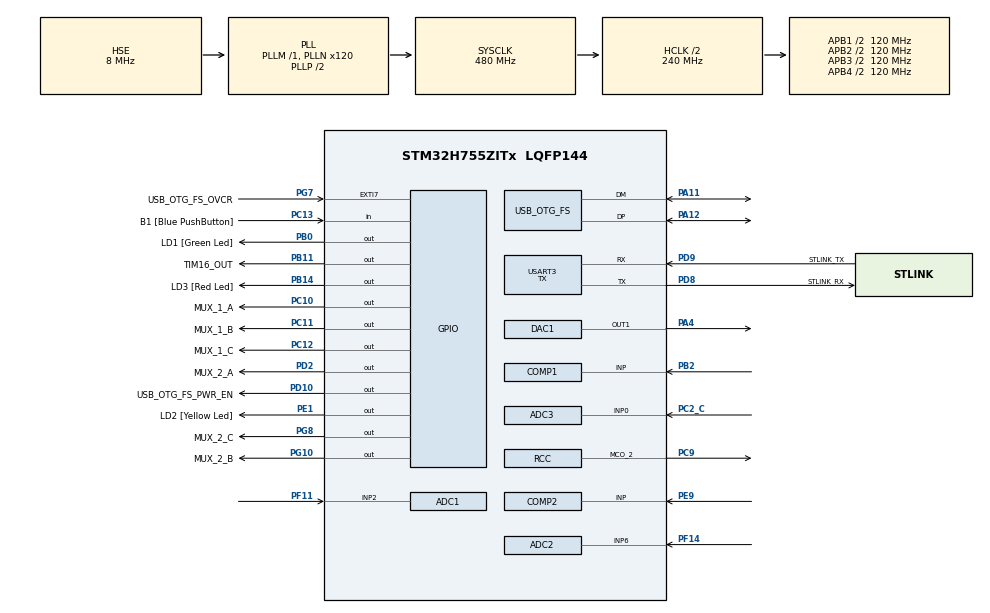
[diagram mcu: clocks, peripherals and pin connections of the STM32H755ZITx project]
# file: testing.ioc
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ADC1.Channel-0\#ChannelRegularConversion=ADC_CHANNEL_2
ADC1.ClockPrescaler=ADC_CLOCK_ASYNC_DIV1
ADC1.ClockPrescalerADC3=ADC_CLOCK_ASYNC_DIV1
ADC1.ContinuousConvMode=DISABLE
ADC1.ConversionDataManagement=ADC_CONVERSIONDATA_DMA_ONESHOT
ADC1.EnableAnalogWatchDog1=false
ADC1.EnableAnalogWatchDog2=false
ADC1.EnableAnalogWatchDog3=false
ADC1.ExternalTrigConv=ADC_EXTERNALTRIG_T1_TRGO
ADC1.NbrOfConversion=1
ADC1.NbrOfConversionFlag=1
ADC1.OffsetNumber-0\#ChannelRegularConversion=ADC_OFFSET_NONE
ADC1.OffsetSignedSaturation-0\#ChannelRegularConversion=DISABLE
ADC1.Overrun=ADC_OVR_DATA_OVERWRITTEN
ADC1.Rank-0\#ChannelRegularConversion=1
ADC1.Resolution=ADC_RESOLUTION_8B
ADC1.SamplingTime-0\#ChannelRegularConversion=ADC_SAMPLETIME_2CYCLES_5
ADC1.master=1
ADC2.Channel-2\#ChannelRegularConversion=ADC_CHANNEL_6
ADC2.ClockPrescalerADC3=ADC_CLOCK_ASYNC_DIV1
ADC2.ConversionDataManagement=ADC_CONVERSIONDATA_DMA_ONESHOT
ADC2.EnableAnalogWatchDog1=false
ADC2.ExternalTrigConv=ADC_EXTERNALTRIG_T1_TRGO
ADC2.NbrOfConversionFlag=1
ADC2.OffsetNumber-2\#ChannelRegularConversion=ADC_OFFSET_NONE
ADC2.OffsetSignedSaturation-2\#ChannelRegularConversion=DISABLE
ADC2.Overrun=ADC_OVR_DATA_OVERWRITTEN
ADC2.Rank-2\#ChannelRegularConversion=1
ADC2.Resolution=ADC_RESOLUTION_8B
ADC2.SamplingTime-2\#ChannelRegularConversion=ADC_SAMPLETIME_2CYCLES_5
ADC3.Channel-2\#ChannelRegularConversion=ADC_CHANNEL_0
ADC3.ClockPrescaler=ADC_CLOCK_ASYNC_DIV1
ADC3.ClockPrescalerADC3=ADC_CLOCK_ASYNC_DIV1
ADC3.ContinuousConvMode=DISABLE
ADC3.ConversionDataManagement=ADC_CONVERSIONDATA_DMA_ONESHOT
ADC3.EnableAnalogWatchDog1=false
ADC3.ExternalTrigConv=ADC_EXTERNALTRIG_T1_TRGO
ADC3.NbrOfConversionFlag=1
ADC3.OffsetNumber-2\#ChannelRegularConversion=ADC_OFFSET_NONE
ADC3.OffsetSignedSaturation-2\#ChannelRegularConversion=DISABLE
ADC3.Overrun=ADC_OVR_DATA_OVERWRITTEN
ADC3.Rank-2\#ChannelRegularConversion=1
ADC3.Resolution=ADC_RESOLUTION_8B
ADC3.SamplingTime-2\#ChannelRegularConversion=ADC_SAMPLETIME_2CYCLES_5
COMP1.Hysteresis=COMP_HYSTERESIS_LOW
COMP1.TriggerMode=COMP_TRIGGERMODE_IT_RISING_FALLING
COMP2.Hysteresis=COMP_HYSTERESIS_LOW
COMP2.TriggerMode=COMP_TRIGGERMODE_IT_RISING_FALLING
CortexM4.IPs=FATFS_M4\:I,FREERTOS_M4\:I,IWDG2\:I,RCC,WWDG2\:I,DMA,BDMA,MDMA,NVIC2\:I,USART3,DEBUG,USB_DEVICE_M4\:I,USB_HOST_M4\:I,PDM2PCM_M4\:I,PWR,RESMGR_UTILITY,SYS_M4\:I,CORTEX_M4\:I,OPENAMP_M4\:I,VREFBUF,GPIO
CortexM7.IPs=FATFS_M7\:I,FREERTOS_M7\:I,IWDG1\:I,RCC\:I,WWDG1\:I,DMA\:I,BDMA\:I,MDMA\:I,NVIC1\:I,USART3\:I,SYS\:I,CORTEX_M7\:I,DEBUG\:I,USB_DEVICE_M7\:I,USB_HOST_M7\:I,PDM2PCM_M7\:I,PWR\:I,RESMGR_UTILITY\:I,OPENAMP_M7\:I,VREFBUF\:I,ADC1\:I,TIM1\:I,USB_OTG_FS\:I,ADC2\:I,ADC3\:I,GPIO\:I,TIM16\:I,COMP1\:I,COMP2\:I,DAC1\:I
CortexM7.Pins=PC13,PB0,PB11,PB14,PD10,PG7,PG8,PC10,PC11,PC12,PD2,PG10,PE1
DAC1.DAC_Channel-DAC_OUT1_ExtAndInt=DAC_CHANNEL_1
DAC1.DAC_Channel-DAC_OUT2_Int=DAC_CHANNEL_2
Dma.ADC1.0.Direction=DMA_PERIPH_TO_MEMORY
Dma.ADC1.0.EventEnable=DISABLE
Dma.ADC1.0.FIFOMode=DMA_FIFOMODE_DISABLE
Dma.ADC1.0.Instance=DMA1_Stream0
Dma.ADC1.0.MemDataAlignment=DMA_MDATAALIGN_BYTE
Dma.ADC1.0.MemInc=DMA_MINC_ENABLE
Dma.ADC1.0.Mode=DMA_NORMAL
Dma.ADC1.0.PeriphDataAlignment=DMA_PDATAALIGN_BYTE
Dma.ADC1.0.PeriphInc=DMA_PINC_DISABLE
Dma.ADC1.0.Polarity=HAL_DMAMUX_REQ_GEN_RISING
Dma.ADC1.0.Priority=DMA_PRIORITY_HIGH
Dma.ADC1.0.RequestNumber=1
Dma.ADC1.0.SignalID=NONE
Dma.ADC1.0.SyncEnable=DISABLE
Dma.ADC1.0.SyncPolarity=HAL_DMAMUX_SYNC_NO_EVENT
Dma.ADC1.0.SyncRequestNumber=1
Dma.ADC1.0.SyncSignalID=NONE
Dma.ADC2.1.Direction=DMA_PERIPH_TO_MEMORY
Dma.ADC2.1.EventEnable=DISABLE
Dma.ADC2.1.FIFOMode=DMA_FIFOMODE_DISABLE
Dma.ADC2.1.Instance=DMA1_Stream1
Dma.ADC2.1.MemDataAlignment=DMA_MDATAALIGN_BYTE
Dma.ADC2.1.MemInc=DMA_MINC_ENABLE
Dma.ADC2.1.Mode=DMA_NORMAL
Dma.ADC2.1.PeriphDataAlignment=DMA_PDATAALIGN_BYTE
Dma.ADC2.1.PeriphInc=DMA_PINC_DISABLE
Dma.ADC2.1.Polarity=HAL_DMAMUX_REQ_GEN_RISING
Dma.ADC2.1.Priority=DMA_PRIORITY_HIGH
Dma.ADC2.1.RequestNumber=1
Dma.ADC2.1.SignalID=NONE
Dma.ADC2.1.SyncEnable=DISABLE
Dma.ADC2.1.SyncPolarity=HAL_DMAMUX_SYNC_NO_EVENT
Dma.ADC2.1.SyncRequestNumber=1
Dma.ADC2.1.SyncSignalID=NONE
Dma.ADC3.2.Direction=DMA_PERIPH_TO_MEMORY
Dma.ADC3.2.EventEnable=DISABLE
Dma.ADC3.2.FIFOMode=DMA_FIFOMODE_DISABLE
Dma.ADC3.2.Instance=DMA1_Stream2
Dma.ADC3.2.MemDataAlignment=DMA_MDATAALIGN_BYTE
Dma.ADC3.2.MemInc=DMA_MINC_ENABLE
Dma.ADC3.2.Mode=DMA_NORMAL
Dma.ADC3.2.PeriphDataAlignment=DMA_PDATAALIGN_BYTE
Dma.ADC3.2.PeriphInc=DMA_PINC_DISABLE
Dma.ADC3.2.Polarity=HAL_DMAMUX_REQ_GEN_RISING
Dma.ADC3.2.Priority=DMA_PRIORITY_HIGH
Dma.ADC3.2.RequestNumber=1
Dma.ADC3.2.SignalID=NONE
Dma.ADC3.2.SyncEnable=DISABLE
Dma.ADC3.2.SyncPolarity=HAL_DMAMUX_SYNC_NO_EVENT
Dma.ADC3.2.SyncRequestNumber=1
Dma.ADC3.2.SyncSignalID=NONE
Dma.MEMTOMEM.3.Direction=DMA_MEMORY_TO_MEMORY
Dma.MEMTOMEM.3.EventEnable=DISABLE
Dma.MEMTOMEM.3.FIFOMode=DMA_FIFOMODE_ENABLE
Dma.MEMTOMEM.3.FIFOThreshold=DMA_FIFO_THRESHOLD_FULL
Dma.MEMTOMEM.3.Instance=DMA2_Stream0
Dma.MEMTOMEM.3.MemBurst=DMA_MBURST_SINGLE
Dma.MEMTOMEM.3.MemDataAlignment=DMA_MDATAALIGN_BYTE
Dma.MEMTOMEM.3.MemInc=DMA_MINC_ENABLE
Dma.MEMTOMEM.3.Mode=DMA_NORMAL
Dma.MEMTOMEM.3.PeriphBurst=DMA_PBURST_SINGLE
Dma.MEMTOMEM.3.PeriphDataAlignment=DMA_PDATAALIGN_BYTE
Dma.MEMTOMEM.3.PeriphInc=DMA_PINC_ENABLE
Dma.MEMTOMEM.3.Polarity=HAL_DMAMUX_REQ_GEN_RISING
Dma.MEMTOMEM.3.Priority=DMA_PRIORITY_LOW
Dma.MEMTOMEM.3.RequestNumber=1
Dma.MEMTOMEM.3.SignalID=NONE
Dma.MEMTOMEM.3.SyncEnable=DISABLE
Dma.MEMTOMEM.3.SyncPolarity=HAL_DMAMUX_SYNC_NO_EVENT
Dma.MEMTOMEM.3.SyncRequestNumber=1
Dma.MEMTOMEM.3.SyncSignalID=NONE
Dma.Request0=ADC1
Dma.Request1=ADC2
Dma.Request2=ADC3
Dma.Request3=MEMTOMEM
Mcu.Family=STM32H7
Mcu.Name=STM32H755ZITx
Mcu.Package=LQFP144
NVIC1.ADC3_IRQn=true\:0\:0\:false\:false\:true\:true\:true\:true
NVIC1.ADC_IRQn=true\:0\:0\:false\:false\:true\:true\:true\:true
NVIC1.COMP_IRQn=true\:0\:0\:false\:false\:true\:false\:true\:true
NVIC1.DMA1_Stream0_IRQn=true\:0\:0\:false\:false\:true\:false\:true\:true
NVIC1.DMA1_Stream1_IRQn=true\:0\:0\:false\:false\:true\:false\:true\:true
NVIC1.DMA1_Stream2_IRQn=true\:0\:0\:false\:false\:true\:false\:true\:true
NVIC1.OTG_FS_EP1_IN_IRQn=true\:0\:0\:false\:false\:true\:true\:true\:true
NVIC1.OTG_FS_EP1_OUT_IRQn=true\:0\:0\:false\:false\:true\:true\:true\:true
NVIC1.OTG_FS_IRQn=true\:0\:0\:false\:false\:true\:false\:true\:true
NVIC1.PriorityGroup=NVIC_PRIORITYGROUP_4
NVIC1.TIM16_IRQn=true\:0\:0\:false\:false\:true\:true\:true\:true
NVIC2.PriorityGroup=NVIC_PRIORITYGROUP_4
PA11.Mode=Device_Only
PA11.PinAttribute=CortexM7
PA11.Signal=USB_OTG_FS_DM
PA12.Mode=Device_Only
PA12.PinAttribute=CortexM7
PA12.Signal=USB_OTG_FS_DP
PA4.PinAttribute=CortexM7
PA4.Signal=COMP_DAC11_group
PB0.GPIO_Label=LD1 [Green Led]
PB0.PinAttribute=CortexM7
PB0.Signal=GPIO_Output
PB11.GPIO_Label=TIM16_OUT
PB11.PinAttribute=CortexM7
PB11.Signal=GPIO_Output
PB14.GPIO_Label=LD3 [Red Led]
PB14.PinAttribute=CortexM7
PB14.Signal=GPIO_Output
PB2.Mode=INP
PB2.PinAttribute=CortexM7
PB2.Signal=COMP1_INP
PC10.GPIO_Label=MUX_1_A
PC10.PinAttribute=CortexM7
PC10.Signal=GPIO_Output
PC11.GPIO_Label=MUX_1_B
PC11.PinAttribute=CortexM7
PC11.Signal=GPIO_Output
PC12.GPIO_Label=MUX_1_C
PC12.PinAttribute=CortexM7
PC12.Signal=GPIO_Output
PC13.GPIO_Label=B1 [Blue PushButton]
PC13.PinAttribute=CortexM7
PC13.Signal=GPIO_Input
PC14-OSC32_IN\ (OSC32_IN).Mode=LSE-External-Oscillator
PC14-OSC32_IN\ (OSC32_IN).PinAttribute=CortexM7
PC14-OSC32_IN\ (OSC32_IN).Signal=RCC_OSC32_IN
PC15-OSC32_OUT\ (OSC32_OUT).Mode=LSE-External-Oscillator
PC15-OSC32_OUT\ (OSC32_OUT).PinAttribute=CortexM7
PC15-OSC32_OUT\ (OSC32_OUT).Signal=RCC_OSC32_OUT
PC2_C.Mode=IN0-Single-Ended
PC2_C.PinAttribute=CortexM7
PC2_C.Signal=ADC3_INP0
PC9.Mode=Clock-out-2
PC9.PinAttribute=CortexM7
PC9.Signal=RCC_MCO_2
PD10.GPIO_Label=USB_OTG_FS_PWR_EN
PD10.PinAttribute=CortexM7
PD10.Signal=GPIO_Output
PD2.GPIO_Label=MUX_2_A
PD2.PinAttribute=CortexM7
PD2.Signal=GPIO_Output
PD8.GPIO_Label=STLINK_RX
PD8.Mode=Asynchronous
PD8.PinAttribute=CortexM7
PD8.Signal=USART3_TX
PD9.GPIO_Label=STLINK_TX
PD9.Mode=Asynchronous
PD9.PinAttribute=CortexM7
PD9.Signal=USART3_RX
PE1.GPIO_Label=LD2 [Yellow Led]
PE1.PinAttribute=CortexM7
PE1.Signal=GPIO_Output
PE9.Mode=INP
PE9.PinAttribute=CortexM7
PE9.Signal=COMP2_INP
PF11.Mode=IN2-Single-Ended
PF11.PinAttribute=CortexM7
PF11.Signal=ADC1_INP2
PF14.Mode=IN6-Single-Ended
PF14.PinAttribute=CortexM7
PF14.Signal=ADC2_INP6
PG10.GPIO_Label=MUX_2_B
PG10.PinAttribute=CortexM7
PG10.Signal=GPIO_Output
PG7.GPIO_Label=USB_OTG_FS_OVCR
PG7.PinAttribute=CortexM7
PG7.Signal=GPXTI7
PG8.GPIO_Label=MUX_2_C
PG8.PinAttribute=CortexM7
PG8.Signal=GPIO_Output
PH0-OSC_IN\ (PH0).Mode=HSE-External-Clock-Source
PH0-OSC_IN\ (PH0).PinAttribute=CortexM7
PH0-OSC_IN\ (PH0).Signal=RCC_OSC_IN
ProjectManager.HeapSize=M4-0x200,M7-0x200
ProjectManager.StackSize=M4-0x400,M7-0x400
ProjectManager.TargetToolchain=STM32CubeIDE
RCC.ADCFreq_Value=50000000
RCC.APB1Freq_Value=120000000
RCC.APB2Freq_Value=120000000
RCC.APB3Freq_Value=120000000
RCC.APB4Freq_Value=120000000
RCC.CortexFreq_Value=480000000
RCC.D1PPRE=RCC_APB3_DIV2
RCC.D2PPRE1=RCC_APB1_DIV2
RCC.D2PPRE2=RCC_APB2_DIV2
RCC.D3PPRE=RCC_APB4_DIV2
RCC.DIVM1=1
RCC.DIVM2=1
RCC.DIVM3=1
RCC.DIVN1=120
RCC.DIVN2=50
RCC.DIVN3=60
RCC.DIVP2=8
RCC.DIVQ1=4
RCC.DIVQ2=1
RCC.DIVQ3=10
RCC.HCLKFreq_Value=240000000
RCC.HPRE=RCC_HCLK_DIV2
RCC.HSE_VALUE=8000000
RCC.PLL2FRACN=0
RCC.PLL3FRACN=0
RCC.PLLFRACN=0
RCC.PLLSourceVirtual=RCC_PLLSOURCE_HSE
RCC.SYSCLKFreq_VALUE=480000000
RCC.SYSCLKSource=RCC_SYSCLKSOURCE_PLLCLK
RCC.SupplySource=PWR_DIRECT_SMPS_SUPPLY
RCC.USART234578CLockSelection=RCC_USART234578CLKSOURCE_HSI
RCC.USBCLockSelection=RCC_USBCLKSOURCE_PLL3
RCC.USBFreq_Value=48000000
SH.COMP_DAC11_group.0=DAC1_OUT1,DAC_OUT1_ExtAndInt
TIM1.AutoReloadPreload=TIM_AUTORELOAD_PRELOAD_DISABLE
TIM1.Channel-PWM\ Generation1\ No\ Output=TIM_CHANNEL_1
TIM1.ClockDivision=TIM_CLOCKDIVISION_DIV1
TIM1.Period=48 - 1
TIM1.Prescaler=0
TIM1.TIM_MasterOutputTrigger=TIM_TRGO_UPDATE
TIM1.TIM_MasterOutputTrigger2=TIM_TRGO2_RESET
TIM16.Period=12000 - 1
TIM16.Prescaler=2000 - 1
USART3.Mode=MODE_TX
USART3.VirtualMode-Asynchronous=VM_ASYNC
USB_DEVICE_M7.APP_RX_DATA_SIZE-CDC_FS=9
USB_DEVICE_M7.CLASS_NAME_FS=CDC
USB_DEVICE_M7.USBD_DEBUG_LEVEL-CDC_FS=0
USB_DEVICE_M7.USBD_MAX_STR_DESC_SIZ-CDC_FS=64
USB_DEVICE_M7.VirtualMode-CDC_FS=Cdc
USB_DEVICE_M7.VirtualModeFS=Cdc_FS
USB_OTG_FS.Sof_enable=DISABLE
USB_OTG_FS.VirtualMode=Device_Only
USB_OTG_FS.dma_enable=DISABLE
USB_OTG_FS.use_dedicated_ep1=DISABLE
VP_COMP1_VS_DACOUT1.Mode=INM_DACOUT1
VP_COMP2_VS_DACOUT2.Mode=INM_DACOUT2
VP_DAC1_VS_DACI2.Mode=DAC_OUT2_Int
VP_SYS_M4_VS_Systick.Mode=SysTick
VP_TIM16_VS_ClockSourceINT.Mode=Enable_Timer
VP_TIM1_VS_no_output1.Mode=PWM Generation1 No Output
VP_USB_DEVICE_M7_VS_USB_DEVICE_CDC_FS.Mode=CDC_FS
VP_VREFBUF_V_VREFBUF.Mode=ExternalMode
board=NUCLEO-H755ZI-Q

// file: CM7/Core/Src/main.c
/* USER CODE BEGIN Header */
/**
 ******************************************************************************
 * @file           : main.c
 * @brief          : Main program body
 ******************************************************************************
 * @attention
 *
 * Copyright (c) 2022 STMicroelectronics.
 * All rights reserved.
 *
 * This software is licensed under terms that can be found in the LICENSE file
 * in the root directory of this software component.
 * If no LICENSE file comes with this software, it is provided AS-IS.
 *
 ******************************************************************************
 */
/* USER CODE END Header */
#include "main.h"
#include "usb_device.h"

/* USER CODE BEGIN Includes */
#include "usbd_cdc_if.h"
/* USER CODE END Includes */

/* USER CODE BEGIN PTD */
typedef struct
{
	uint8_t channelA;
	uint8_t channelB;
	uint8_t channelC;
	uint8_t trigger_option;
	uint16_t trigger_value;
	uint8_t trigger_channel;
	uint8_t time_scale;
	uint8_t changed;
} options_t;
/* USER CODE END PTD */

/* USER CODE BEGIN PD */

#ifndef HSEM_ID_0
#define HSEM_ID_0 (0U) /* HW semaphore 0*/
#endif

#define ADC_HALF_BUF_LEN 10000u
#define DATA_TO_SEND_LEN 500u
#define HALF_DATA_TO_SEND_LEN 250u

/* USER CODE END PD */

ADC_HandleTypeDef hadc1;
ADC_HandleTypeDef hadc2;
ADC_HandleTypeDef hadc3;
DMA_HandleTypeDef hdma_adc1;
DMA_HandleTypeDef hdma_adc2;
DMA_HandleTypeDef hdma_adc3;

COMP_HandleTypeDef hcomp1;
COMP_HandleTypeDef hcomp2;

DAC_HandleTypeDef hdac1;

TIM_HandleTypeDef htim1;
TIM_HandleTypeDef htim16;

UART_HandleTypeDef huart3;

DMA_HandleTypeDef hdma_memtomem_dma2_stream0;
/* USER CODE BEGIN PV */
uint8_t ADC_Buf_A_1[ADC_HALF_BUF_LEN * 2];
uint8_t ADC_Buf_B_1[ADC_HALF_BUF_LEN * 2];
uint8_t ADC_Buf_C_1[ADC_HALF_BUF_LEN * 2];

uint8_t ADC_Buf_A_2[ADC_HALF_BUF_LEN * 2];
uint8_t ADC_Buf_B_2[ADC_HALF_BUF_LEN * 2];
uint8_t ADC_Buf_C_2[ADC_HALF_BUF_LEN * 2];

uint8_t ADC_Buf_A_1_[ADC_HALF_BUF_LEN * 2];
uint8_t ADC_Buf_B_1_[ADC_HALF_BUF_LEN * 2];
uint8_t ADC_Buf_C_1_[ADC_HALF_BUF_LEN * 2];

uint8_t ADC_Buf_A_2_[ADC_HALF_BUF_LEN * 2];
uint8_t ADC_Buf_B_2_[ADC_HALF_BUF_LEN * 2];
uint8_t ADC_Buf_C_2_[ADC_HALF_BUF_LEN * 2];

uint8_t ADC_Tmp_Buf_A[ADC_HALF_BUF_LEN * 3];
uint8_t ADC_Tmp_Buf_B[ADC_HALF_BUF_LEN * 3];
uint8_t ADC_Tmp_Buf_C[ADC_HALF_BUF_LEN * 3];

volatile uint8_t trigger_flag = 0;

volatile uint16_t trigger_A_pos = 0;
volatile uint16_t trigger_B_pos = 0;
volatile uint16_t trigger_C_pos = 0;

volatile uint8_t trigger_quadrant = 0;

volatile uint8_t start_flag = RESET;
volatile uint8_t ready_to_send_flag = 0;

volatile uint16_t buf_A_pos = 0;
volatile uint16_t buf_B_pos = 0;
volatile uint16_t buf_C_pos = 0;

volatile uint8_t buf_A_quadrant = 0;
volatile uint8_t buf_B_quadrant = 0;
volatile uint8_t buf_C_quadrant = 0;
volatile uint8_t first_triggering = 0;

uint8_t expected_comp_output = 0;

uint8_t data_to_send[DATA_TO_SEND_LEN * 3];

uint8_t dummy_data_to_send[DATA_TO_SEND_LEN * 3];

options_t *options;
/* USER CODE END PV */

void SystemClock_Config(void);
void PeriphCommonClock_Config(void);
static void MX_GPIO_Init(void);
static void MX_USART3_UART_Init(void);
static void MX_DMA_Init(void);
static void MX_ADC1_Init(void);
static void MX_TIM1_Init(void);
static void MX_ADC3_Init(void);
static void MX_ADC2_Init(void);
static void MX_TIM16_Init(void);
static void MX_COMP1_Init(void);
static void MX_COMP2_Init(void);
static void MX_DAC1_Init(void);
/* USER CODE BEGIN PFP */
void copy_to_tmp_array(void);
void prepare_data_to_send(uint16_t trigger_pos);
/* USER CODE END PFP */

int main(void)
{
/* USER CODE BEGIN Boot_Mode_Sequence_0 */
	int32_t timeout;
/* USER CODE END Boot_Mode_Sequence_0 */

/* USER CODE BEGIN Boot_Mode_Sequence_1 */
	/* Wait until CPU2 boots and enters in stop mode or timeout*/
	timeout = 0xFFFF;
	while ((__HAL_RCC_GET_FLAG(RCC_FLAG_D2CKRDY) != RESET) && (timeout-- > 0));
	if (timeout < 0)
	{
		Error_Handler();
	}
/* USER CODE END Boot_Mode_Sequence_1 */
  /* MCU Configuration--------------------------------------------------------*/

  /* Reset of all peripherals, Initializes the Flash interface and the Systick. */
  HAL_Init();

  /* Configure the system clock */
  SystemClock_Config();

/* Configure the peripherals common clocks */
  PeriphCommonClock_Config();
/* USER CODE BEGIN Boot_Mode_Sequence_2 */
	/* When system initialization is finished, Cortex-M7 will release Cortex-M4 by means of
	 HSEM notification */
	/*HW semaphore Clock enable*/
	__HAL_RCC_HSEM_CLK_ENABLE();
	/*Take HSEM */
	HAL_HSEM_FastTake(HSEM_ID_0);
	/*Release HSEM in order to notify the CPU2(CM4)*/
	HAL_HSEM_Release(HSEM_ID_0, 0);
	/* wait until CPU2 wakes up from stop mode */
	timeout = 0xFFFF;
	while ((__HAL_RCC_GET_FLAG(RCC_FLAG_D2CKRDY) == RESET) && (timeout-- > 0));
	if (timeout < 0)
	{
		Error_Handler();
	}
/* USER CODE END Boot_Mode_Sequence_2 */

  /* Initialize all configured peripherals */
  MX_GPIO_Init();
  MX_USART3_UART_Init();
  MX_DMA_Init();
  MX_ADC1_Init();
  MX_TIM1_Init();
  MX_USB_DEVICE_Init();
  MX_ADC3_Init();
  MX_ADC2_Init();
  MX_TIM16_Init();
  MX_COMP1_Init();
  MX_COMP2_Init();
  MX_DAC1_Init();
  /* USER CODE BEGIN 2 */
	HAL_GPIO_TogglePin(LD2_GPIO_Port, LD2_Pin);
	HAL_ADCEx_Calibration_Start(&hadc1, ADC_CALIB_OFFSET_LINEARITY, ADC_SINGLE_ENDED);
	HAL_ADCEx_Calibration_Start(&hadc2, ADC_CALIB_OFFSET_LINEARITY, ADC_SINGLE_ENDED);
	HAL_ADCEx_Calibration_Start(&hadc3, ADC_CALIB_OFFSET_LINEARITY, ADC_SINGLE_ENDED);
	HAL_GPIO_TogglePin(LD2_GPIO_Port, LD2_Pin);

	HAL_TIM_Base_Start_IT(&htim16);

	uint16_t i = 0;
	for (i = 0; i < DATA_TO_SEND_LEN * 3; i++)
	{
		dummy_data_to_send[i] = i & 0xFF;
	}
	options->changed = 0;

	while (!start_flag)
	{
		//waiting for usb connection
	}

	HAL_ADC_Stop_DMA(&hadc1);
	HAL_ADC_Stop_DMA(&hadc2);
	HAL_ADC_Stop_DMA(&hadc3);

	HAL_COMP_Stop(&hcomp1);
	HAL_COMP_Stop(&hcomp2);

	HAL_DAC_Start(&hdac1, DAC_CHANNEL_1);

	HAL_TIM_PWM_Stop(&htim1, TIM_CHANNEL_1);

	HAL_Delay(500);

	HAL_ADC_Start_DMA(&hadc1, (uint32_t*) ADC_Buf_A_1, ADC_HALF_BUF_LEN * 2);
	HAL_ADC_Start_DMA(&hadc2, (uint32_t*) ADC_Buf_B_1, ADC_HALF_BUF_LEN * 2);
	HAL_ADC_Start_DMA(&hadc3, (uint32_t*) ADC_Buf_C_1, ADC_HALF_BUF_LEN * 2);

//			HAL_COMP_Start_IT(&hcomp1);
//			HAL_COMP_Start_IT(&hcomp2);

	HAL_TIM_PWM_Start(&htim1, TIM_CHANNEL_1);

	trigger_A_pos = 0;
	trigger_B_pos = 0;

	buf_A_pos = 0;
	buf_B_pos = 0;
	buf_C_pos = 0;

	start_flag = RESET;
	HAL_GPIO_TogglePin(LD1_GPIO_Port, LD1_Pin);

  /* USER CODE END 2 */

  /* Infinite loop */
  /* USER CODE BEGIN WHILE */
	while (1)
	{

		if (trigger_flag)
		{
			if (options->trigger_channel == 1)
			{
				if (buf_A_quadrant == ((trigger_quadrant + 1) & 3))
				{
					copy_to_tmp_array();
					prepare_data_to_send(trigger_A_pos);
					ready_to_send_flag = 1;
					trigger_flag = 0;
				}
			}
			if (options->trigger_channel == 2)
			{
				if (buf_B_quadrant == ((trigger_quadrant + 1) & 3))
				{
					copy_to_tmp_array();
					prepare_data_to_send(trigger_B_pos);
					ready_to_send_flag = 1;
					trigger_flag = 0;
				}
			}
		}

		if (options->changed)
		{
			first_triggering = 0;
			//TODO(Attila): Set everything

			//MUX 1
			HAL_GPIO_WritePin(MUX_1_A_GPIO_Port, MUX_1_A_Pin, !(options->channelA & 1));
			HAL_GPIO_WritePin(MUX_1_B_GPIO_Port, MUX_1_B_Pin, !(options->channelA & 2));
			HAL_GPIO_WritePin(MUX_1_C_GPIO_Port, MUX_1_C_Pin, !(options->channelA & 4));

			//MUX 2
			HAL_GPIO_WritePin(MUX_2_A_GPIO_Port, MUX_2_A_Pin, !(options->channelB & 1));
			HAL_GPIO_WritePin(MUX_2_B_GPIO_Port, MUX_2_B_Pin, !(options->channelB & 2));
			HAL_GPIO_WritePin(MUX_2_C_GPIO_Port, MUX_2_C_Pin, !(options->channelB & 4));

			//DAC setting
			HAL_DAC_SetValue(&hdac1, DAC_CHANNEL_1, DAC_ALIGN_12B_R, options->trigger_value);
			HAL_DAC_SetValue(&hdac1, DAC_CHANNEL_2, DAC_ALIGN_12B_R, options->trigger_value);

			//Trigger Mode
			switch (options->trigger_option)
			{
			case 0:
//				hcomp1.Init.TriggerMode = COMP_TRIGGERMODE_IT_RISING;
//				hcomp2.Init.TriggerMode = COMP_TRIGGERMODE_IT_RISING;
				expected_comp_output = COMP_OUTPUT_LEVEL_HIGH;

				HAL_COMP_Stop(&hcomp1);
				HAL_COMP_Stop(&hcomp2);

//				HAL_COMP_Init(&hcomp1);
//				HAL_COMP_Init(&hcomp2);

				trigger_flag = 0;
				HAL_COMP_Start(&hcomp1);
				HAL_COMP_Start(&hcomp2);
				break;

			case 1:
//				hcomp1.Init.TriggerMode = COMP_TRIGGERMODE_IT_FALLING;
//				hcomp2.Init.TriggerMode = COMP_TRIGGERMODE_IT_FALLING;
				expected_comp_output = COMP_OUTPUT_LEVEL_LOW;

//				HAL_COMP_Init(&hcomp1);
//				HAL_COMP_Init(&hcomp2);

				trigger_flag = 0;
				HAL_COMP_Start(&hcomp1);
				HAL_COMP_Start(&hcomp2);
				break;

			default:
				HAL_COMP_Stop(&hcomp1);
				HAL_COMP_Stop(&hcomp2);

				break;
			}

			options->changed = 0;
		}
    /* USER CODE END WHILE */

	}
}

void SystemClock_Config(void)
{
  RCC_OscInitTypeDef RCC_OscInitStruct = {0};
  RCC_ClkInitTypeDef RCC_ClkInitStruct = {0};

  /** Supply configuration update enable
  */
  HAL_PWREx_ConfigSupply(PWR_DIRECT_SMPS_SUPPLY);

  /** Configure the main internal regulator output voltage
  */
  __HAL_PWR_VOLTAGESCALING_CONFIG(PWR_REGULATOR_VOLTAGE_SCALE0);

  while(!__HAL_PWR_GET_FLAG(PWR_FLAG_VOSRDY)) {}

  /** Macro to configure the PLL clock source
  */
  __HAL_RCC_PLL_PLLSOURCE_CONFIG(RCC_PLLSOURCE_HSE);

  /** Initializes the RCC Oscillators according to the specified parameters
  * in the RCC_OscInitTypeDef structure.
  */
  RCC_OscInitStruct.OscillatorType = RCC_OSCILLATORTYPE_HSI|RCC_OSCILLATORTYPE_HSE;
  RCC_OscInitStruct.HSEState = RCC_HSE_BYPASS;
  RCC_OscInitStruct.HSIState = RCC_HSI_DIV1;
  RCC_OscInitStruct.HSICalibrationValue = RCC_HSICALIBRATION_DEFAULT;
  RCC_OscInitStruct.PLL.PLLState = RCC_PLL_ON;
  RCC_OscInitStruct.PLL.PLLSource = RCC_PLLSOURCE_HSE;
  RCC_OscInitStruct.PLL.PLLM = 1;
  RCC_OscInitStruct.PLL.PLLN = 120;
  RCC_OscInitStruct.PLL.PLLP = 2;
  RCC_OscInitStruct.PLL.PLLQ = 4;
  RCC_OscInitStruct.PLL.PLLR = 2;
  RCC_OscInitStruct.PLL.PLLRGE = RCC_PLL1VCIRANGE_3;
  RCC_OscInitStruct.PLL.PLLVCOSEL = RCC_PLL1VCOWIDE;
  RCC_OscInitStruct.PLL.PLLFRACN = 0;
  if (HAL_RCC_OscConfig(&RCC_OscInitStruct) != HAL_OK)
  {
    Error_Handler();
  }

  /** Initializes the CPU, AHB and APB buses clocks
  */
  RCC_ClkInitStruct.ClockType = RCC_CLOCKTYPE_HCLK|RCC_CLOCKTYPE_SYSCLK
                              |RCC_CLOCKTYPE_PCLK1|RCC_CLOCKTYPE_PCLK2
                              |RCC_CLOCKTYPE_D3PCLK1|RCC_CLOCKTYPE_D1PCLK1;
  RCC_ClkInitStruct.SYSCLKSource = RCC_SYSCLKSOURCE_PLLCLK;
  RCC_ClkInitStruct.SYSCLKDivider = RCC_SYSCLK_DIV1;
  RCC_ClkInitStruct.AHBCLKDivider = RCC_HCLK_DIV2;
  RCC_ClkInitStruct.APB3CLKDivider = RCC_APB3_DIV2;
  RCC_ClkInitStruct.APB1CLKDivider = RCC_APB1_DIV2;
  RCC_ClkInitStruct.APB2CLKDivider = RCC_APB2_DIV2;
  RCC_ClkInitStruct.APB4CLKDivider = RCC_APB4_DIV2;

  if (HAL_RCC_ClockConfig(&RCC_ClkInitStruct, FLASH_LATENCY_4) != HAL_OK)
  {
    Error_Handler();
  }
  HAL_RCC_MCOConfig(RCC_MCO2, RCC_MCO2SOURCE_SYSCLK, RCC_MCODIV_1);
}

void PeriphCommonClock_Config(void)
{
  RCC_PeriphCLKInitTypeDef PeriphClkInitStruct = {0};

  /** Initializes the peripherals clock
  */
  PeriphClkInitStruct.PeriphClockSelection = RCC_PERIPHCLK_ADC;
  PeriphClkInitStruct.PLL2.PLL2M = 1;
  PeriphClkInitStruct.PLL2.PLL2N = 50;
  PeriphClkInitStruct.PLL2.PLL2P = 8;
  PeriphClkInitStruct.PLL2.PLL2Q = 1;
  PeriphClkInitStruct.PLL2.PLL2R = 2;
  PeriphClkInitStruct.PLL2.PLL2RGE = RCC_PLL2VCIRANGE_3;
  PeriphClkInitStruct.PLL2.PLL2VCOSEL = RCC_PLL2VCOWIDE;
  PeriphClkInitStruct.PLL2.PLL2FRACN = 0;
  PeriphClkInitStruct.AdcClockSelection = RCC_ADCCLKSOURCE_PLL2;
  if (HAL_RCCEx_PeriphCLKConfig(&PeriphClkInitStruct) != HAL_OK)
  {
    Error_Handler();
  }
}

static void MX_ADC1_Init(void)
{

  ADC_MultiModeTypeDef multimode = {0};
  ADC_ChannelConfTypeDef sConfig = {0};

  /** Common config
  */
  hadc1.Instance = ADC1;
  hadc1.Init.ClockPrescaler = ADC_CLOCK_ASYNC_DIV1;
  hadc1.Init.Resolution = ADC_RESOLUTION_8B;
  hadc1.Init.ScanConvMode = ADC_SCAN_DISABLE;
  hadc1.Init.EOCSelection = ADC_EOC_SINGLE_CONV;
  hadc1.Init.LowPowerAutoWait = DISABLE;
  hadc1.Init.ContinuousConvMode = DISABLE;
  hadc1.Init.NbrOfConversion = 1;
  hadc1.Init.DiscontinuousConvMode = DISABLE;
  hadc1.Init.ExternalTrigConv = ADC_EXTERNALTRIG_T1_TRGO;
  hadc1.Init.ExternalTrigConvEdge = ADC_EXTERNALTRIGCONVEDGE_RISING;
  hadc1.Init.ConversionDataManagement = ADC_CONVERSIONDATA_DMA_ONESHOT;
  hadc1.Init.Overrun = ADC_OVR_DATA_OVERWRITTEN;
  hadc1.Init.LeftBitShift = ADC_LEFTBITSHIFT_NONE;
  hadc1.Init.OversamplingMode = DISABLE;
  if (HAL_ADC_Init(&hadc1) != HAL_OK)
  {
    Error_Handler();
  }

  /** Configure the ADC multi-mode
  */
  multimode.Mode = ADC_MODE_INDEPENDENT;
  if (HAL_ADCEx_MultiModeConfigChannel(&hadc1, &multimode) != HAL_OK)
  {
    Error_Handler();
  }

  /** Configure Regular Channel
  */
  sConfig.Channel = ADC_CHANNEL_2;
  sConfig.Rank = ADC_REGULAR_RANK_1;
  sConfig.SamplingTime = ADC_SAMPLETIME_2CYCLES_5;
  sConfig.SingleDiff = ADC_SINGLE_ENDED;
  sConfig.OffsetNumber = ADC_OFFSET_NONE;
  sConfig.Offset = 0;
  sConfig.OffsetSignedSaturation = DISABLE;
  if (HAL_ADC_ConfigChannel(&hadc1, &sConfig) != HAL_OK)
  {
    Error_Handler();
  }

}

static void MX_ADC2_Init(void)
{

  ADC_ChannelConfTypeDef sConfig = {0};

  /** Common config
  */
  hadc2.Instance = ADC2;
  hadc2.Init.ClockPrescaler = ADC_CLOCK_ASYNC_DIV1;
  hadc2.Init.Resolution = ADC_RESOLUTION_8B;
  hadc2.Init.ScanConvMode = ADC_SCAN_DISABLE;
  hadc2.Init.EOCSelection = ADC_EOC_SINGLE_CONV;
  hadc2.Init.LowPowerAutoWait = DISABLE;
  hadc2.Init.ContinuousConvMode = DISABLE;
  hadc2.Init.NbrOfConversion = 1;
  hadc2.Init.DiscontinuousConvMode = DISABLE;
  hadc2.Init.ExternalTrigConv = ADC_EXTERNALTRIG_T1_TRGO;
  hadc2.Init.ExternalTrigConvEdge = ADC_EXTERNALTRIGCONVEDGE_RISING;
  hadc2.Init.ConversionDataManagement = ADC_CONVERSIONDATA_DMA_ONESHOT;
  hadc2.Init.Overrun = ADC_OVR_DATA_OVERWRITTEN;
  hadc2.Init.LeftBitShift = ADC_LEFTBITSHIFT_NONE;
  hadc2.Init.OversamplingMode = DISABLE;
  if (HAL_ADC_Init(&hadc2) != HAL_OK)
  {
    Error_Handler();
  }

  /** Configure Regular Channel
  */
  sConfig.Channel = ADC_CHANNEL_6;
  sConfig.Rank = ADC_REGULAR_RANK_1;
  sConfig.SamplingTime = ADC_SAMPLETIME_2CYCLES_5;
  sConfig.SingleDiff = ADC_SINGLE_ENDED;
  sConfig.OffsetNumber = ADC_OFFSET_NONE;
  sConfig.Offset = 0;
  sConfig.OffsetSignedSaturation = DISABLE;
  if (HAL_ADC_ConfigChannel(&hadc2, &sConfig) != HAL_OK)
  {
    Error_Handler();
  }

}

static void MX_ADC3_Init(void)
{

  ADC_ChannelConfTypeDef sConfig = {0};

  /** Common config
  */
  hadc3.Instance = ADC3;
  hadc3.Init.ClockPrescaler = ADC_CLOCK_ASYNC_DIV1;
  hadc3.Init.Resolution = ADC_RESOLUTION_8B;
  hadc3.Init.ScanConvMode = ADC_SCAN_DISABLE;
  hadc3.Init.EOCSelection = ADC_EOC_SINGLE_CONV;
  hadc3.Init.LowPowerAutoWait = DISABLE;
  hadc3.Init.ContinuousConvMode = DISABLE;
  hadc3.Init.NbrOfConversion = 1;
  hadc3.Init.DiscontinuousConvMode = DISABLE;
  hadc3.Init.ExternalTrigConv = ADC_EXTERNALTRIG_T1_TRGO;
  hadc3.Init.ExternalTrigConvEdge = ADC_EXTERNALTRIGCONVEDGE_RISING;
  hadc3.Init.ConversionDataManagement = ADC_CONVERSIONDATA_DMA_ONESHOT;
  hadc3.Init.Overrun = ADC_OVR_DATA_OVERWRITTEN;
  hadc3.Init.LeftBitShift = ADC_LEFTBITSHIFT_NONE;
  hadc3.Init.OversamplingMode = DISABLE;
  if (HAL_ADC_Init(&hadc3) != HAL_OK)
  {
    Error_Handler();
  }

  /** Configure Regular Channel
  */
  sConfig.Channel = ADC_CHANNEL_0;
  sConfig.Rank = ADC_REGULAR_RANK_1;
  sConfig.SamplingTime = ADC_SAMPLETIME_2CYCLES_5;
  sConfig.SingleDiff = ADC_SINGLE_ENDED;
  sConfig.OffsetNumber = ADC_OFFSET_NONE;
  sConfig.Offset = 0;
  sConfig.OffsetSignedSaturation = DISABLE;
  if (HAL_ADC_ConfigChannel(&hadc3, &sConfig) != HAL_OK)
  {
    Error_Handler();
  }

}

static void MX_COMP1_Init(void)
{

  hcomp1.Instance = COMP1;
  hcomp1.Init.InvertingInput = COMP_INPUT_MINUS_DAC1_CH1;
  hcomp1.Init.NonInvertingInput = COMP_INPUT_PLUS_IO2;
  hcomp1.Init.OutputPol = COMP_OUTPUTPOL_NONINVERTED;
  hcomp1.Init.Hysteresis = COMP_HYSTERESIS_LOW;
  hcomp1.Init.BlankingSrce = COMP_BLANKINGSRC_NONE;
  hcomp1.Init.Mode = COMP_POWERMODE_HIGHSPEED;
  hcomp1.Init.WindowMode = COMP_WINDOWMODE_DISABLE;
  hcomp1.Init.TriggerMode = COMP_TRIGGERMODE_IT_RISING_FALLING;
  if (HAL_COMP_Init(&hcomp1) != HAL_OK)
  {
    Error_Handler();
  }

}

static void MX_COMP2_Init(void)
{

  hcomp2.Instance = COMP2;
  hcomp2.Init.InvertingInput = COMP_INPUT_MINUS_DAC1_CH2;
  hcomp2.Init.NonInvertingInput = COMP_INPUT_PLUS_IO1;
  hcomp2.Init.OutputPol = COMP_OUTPUTPOL_NONINVERTED;
  hcomp2.Init.Hysteresis = COMP_HYSTERESIS_LOW;
  hcomp2.Init.BlankingSrce = COMP_BLANKINGSRC_NONE;
  hcomp2.Init.Mode = COMP_POWERMODE_HIGHSPEED;
  hcomp2.Init.WindowMode = COMP_WINDOWMODE_DISABLE;
  hcomp2.Init.TriggerMode = COMP_TRIGGERMODE_IT_RISING_FALLING;
  if (HAL_COMP_Init(&hcomp2) != HAL_OK)
  {
    Error_Handler();
  }

}

static void MX_DAC1_Init(void)
{

  DAC_ChannelConfTypeDef sConfig = {0};

  /** DAC Initialization
  */
  hdac1.Instance = DAC1;
  if (HAL_DAC_Init(&hdac1) != HAL_OK)
  {
    Error_Handler();
  }

  /** DAC channel OUT1 config
  */
  sConfig.DAC_SampleAndHold = DAC_SAMPLEANDHOLD_DISABLE;
  sConfig.DAC_Trigger = DAC_TRIGGER_NONE;
  sConfig.DAC_OutputBuffer = DAC_OUTPUTBUFFER_ENABLE;
  sConfig.DAC_ConnectOnChipPeripheral = DAC_CHIPCONNECT_ENABLE;
  sConfig.DAC_UserTrimming = DAC_TRIMMING_FACTORY;
  if (HAL_DAC_ConfigChannel(&hdac1, &sConfig, DAC_CHANNEL_1) != HAL_OK)
  {
    Error_Handler();
  }

  /** DAC channel OUT2 config
  */
  sConfig.DAC_OutputBuffer = DAC_OUTPUTBUFFER_DISABLE;
  if (HAL_DAC_ConfigChannel(&hdac1, &sConfig, DAC_CHANNEL_2) != HAL_OK)
  {
    Error_Handler();
  }

}

static void MX_TIM1_Init(void)
{

  TIM_MasterConfigTypeDef sMasterConfig = {0};
  TIM_OC_InitTypeDef sConfigOC = {0};
  TIM_BreakDeadTimeConfigTypeDef sBreakDeadTimeConfig = {0};

  htim1.Instance = TIM1;
  htim1.Init.Prescaler = 0;
  htim1.Init.CounterMode = TIM_COUNTERMODE_UP;
  htim1.Init.Period = 48 - 1;
  htim1.Init.ClockDivision = TIM_CLOCKDIVISION_DIV1;
  htim1.Init.RepetitionCounter = 0;
  htim1.Init.AutoReloadPreload = TIM_AUTORELOAD_PRELOAD_DISABLE;
  if (HAL_TIM_PWM_Init(&htim1) != HAL_OK)
  {
    Error_Handler();
  }
  sMasterConfig.MasterOutputTrigger = TIM_TRGO_UPDATE;
  sMasterConfig.MasterOutputTrigger2 = TIM_TRGO2_RESET;
  sMasterConfig.MasterSlaveMode = TIM_MASTERSLAVEMODE_DISABLE;
  if (HAL_TIMEx_MasterConfigSynchronization(&htim1, &sMasterConfig) != HAL_OK)
  {
    Error_Handler();
  }
  sConfigOC.OCMode = TIM_OCMODE_PWM1;
  sConfigOC.Pulse = 0;
  sConfigOC.OCPolarity = TIM_OCPOLARITY_HIGH;
  sConfigOC.OCNPolarity = TIM_OCNPOLARITY_HIGH;
  sConfigOC.OCFastMode = TIM_OCFAST_DISABLE;
  sConfigOC.OCIdleState = TIM_OCIDLESTATE_RESET;
  sConfigOC.OCNIdleState = TIM_OCNIDLESTATE_RESET;
  if (HAL_TIM_PWM_ConfigChannel(&htim1, &sConfigOC, TIM_CHANNEL_1) != HAL_OK)
  {
    Error_Handler();
  }
  sBreakDeadTimeConfig.OffStateRunMode = TIM_OSSR_DISABLE;
  sBreakDeadTimeConfig.OffStateIDLEMode = TIM_OSSI_DISABLE;
  sBreakDeadTimeConfig.LockLevel = TIM_LOCKLEVEL_OFF;
  sBreakDeadTimeConfig.DeadTime = 0;
  sBreakDeadTimeConfig.BreakState = TIM_BREAK_DISABLE;
  sBreakDeadTimeConfig.BreakPolarity = TIM_BREAKPOLARITY_HIGH;
  sBreakDeadTimeConfig.BreakFilter = 0;
  sBreakDeadTimeConfig.Break2State = TIM_BREAK2_DISABLE;
  sBreakDeadTimeConfig.Break2Polarity = TIM_BREAK2POLARITY_HIGH;
  sBreakDeadTimeConfig.Break2Filter = 0;
  sBreakDeadTimeConfig.AutomaticOutput = TIM_AUTOMATICOUTPUT_DISABLE;
  if (HAL_TIMEx_ConfigBreakDeadTime(&htim1, &sBreakDeadTimeConfig) != HAL_OK)
  {
    Error_Handler();
  }

}

static void MX_TIM16_Init(void)
{

  htim16.Instance = TIM16;
  htim16.Init.Prescaler = 2000 - 1;
  htim16.Init.CounterMode = TIM_COUNTERMODE_UP;
  htim16.Init.Period = 12000 - 1;
  htim16.Init.ClockDivision = TIM_CLOCKDIVISION_DIV1;
  htim16.Init.RepetitionCounter = 0;
  htim16.Init.AutoReloadPreload = TIM_AUTORELOAD_PRELOAD_DISABLE;
  if (HAL_TIM_Base_Init(&htim16) != HAL_OK)
  {
    Error_Handler();
  }

}

static void MX_USART3_UART_Init(void)
{

  huart3.Instance = USART3;
  huart3.Init.BaudRate = 115200;
  huart3.Init.WordLength = UART_WORDLENGTH_8B;
  huart3.Init.StopBits = UART_STOPBITS_1;
  huart3.Init.Parity = UART_PARITY_NONE;
  huart3.Init.Mode = UART_MODE_TX;
  huart3.Init.HwFlowCtl = UART_HWCONTROL_NONE;
  huart3.Init.OverSampling = UART_OVERSAMPLING_16;
  huart3.Init.OneBitSampling = UART_ONE_BIT_SAMPLE_DISABLE;
  huart3.Init.ClockPrescaler = UART_PRESCALER_DIV1;
  huart3.AdvancedInit.AdvFeatureInit = UART_ADVFEATURE_NO_INIT;
  if (HAL_UART_Init(&huart3) != HAL_OK)
  {
    Error_Handler();
  }
  if (HAL_UARTEx_SetTxFifoThreshold(&huart3, UART_TXFIFO_THRESHOLD_1_8) != HAL_OK)
  {
    Error_Handler();
  }
  if (HAL_UARTEx_SetRxFifoThreshold(&huart3, UART_RXFIFO_THRESHOLD_1_8) != HAL_OK)
  {
    Error_Handler();
  }
  if (HAL_UARTEx_DisableFifoMode(&huart3) != HAL_OK)
  {
    Error_Handler();
  }

}

static void MX_DMA_Init(void)
{

  /* DMA controller clock enable */
  __HAL_RCC_DMA1_CLK_ENABLE();
  __HAL_RCC_DMA2_CLK_ENABLE();

  /* Configure DMA request hdma_memtomem_dma2_stream0 on DMA2_Stream0 */
  hdma_memtomem_dma2_stream0.Instance = DMA2_Stream0;
  hdma_memtomem_dma2_stream0.Init.Request = DMA_REQUEST_MEM2MEM;
  hdma_memtomem_dma2_stream0.Init.Direction = DMA_MEMORY_TO_MEMORY;
  hdma_memtomem_dma2_stream0.Init.PeriphInc = DMA_PINC_ENABLE;
  hdma_memtomem_dma2_stream0.Init.MemInc = DMA_MINC_ENABLE;
  hdma_memtomem_dma2_stream0.Init.PeriphDataAlignment = DMA_PDATAALIGN_BYTE;
  hdma_memtomem_dma2_stream0.Init.MemDataAlignment = DMA_MDATAALIGN_BYTE;
  hdma_memtomem_dma2_stream0.Init.Mode = DMA_NORMAL;
  hdma_memtomem_dma2_stream0.Init.Priority = DMA_PRIORITY_LOW;
  hdma_memtomem_dma2_stream0.Init.FIFOMode = DMA_FIFOMODE_ENABLE;
  hdma_memtomem_dma2_stream0.Init.FIFOThreshold = DMA_FIFO_THRESHOLD_FULL;
  hdma_memtomem_dma2_stream0.Init.MemBurst = DMA_MBURST_SINGLE;
  hdma_memtomem_dma2_stream0.Init.PeriphBurst = DMA_PBURST_SINGLE;
  if (HAL_DMA_Init(&hdma_memtomem_dma2_stream0) != HAL_OK)
  {
    Error_Handler( );
  }

  /* DMA interrupt init */
  /* DMA1_Stream0_IRQn interrupt configuration */
  HAL_NVIC_SetPriority(DMA1_Stream0_IRQn, 0, 0);
  HAL_NVIC_EnableIRQ(DMA1_Stream0_IRQn);
  /* DMA1_Stream1_IRQn interrupt configuration */
  HAL_NVIC_SetPriority(DMA1_Stream1_IRQn, 0, 0);
  HAL_NVIC_EnableIRQ(DMA1_Stream1_IRQn);
  /* DMA1_Stream2_IRQn interrupt configuration */
  HAL_NVIC_SetPriority(DMA1_Stream2_IRQn, 0, 0);
  HAL_NVIC_EnableIRQ(DMA1_Stream2_IRQn);

}

static void MX_GPIO_Init(void)
{
  GPIO_InitTypeDef GPIO_InitStruct = {0};

  /* GPIO Ports Clock Enable */
  __HAL_RCC_GPIOC_CLK_ENABLE();
  __HAL_RCC_GPIOH_CLK_ENABLE();
  __HAL_RCC_GPIOA_CLK_ENABLE();
  __HAL_RCC_GPIOB_CLK_ENABLE();
  __HAL_RCC_GPIOF_CLK_ENABLE();
  __HAL_RCC_GPIOE_CLK_ENABLE();
  __HAL_RCC_GPIOD_CLK_ENABLE();
  __HAL_RCC_GPIOG_CLK_ENABLE();

  /*Configure GPIO pin Output Level */
  HAL_GPIO_WritePin(GPIOB, LD1_Pin|TIM16_OUT_Pin|LD3_Pin, GPIO_PIN_RESET);

  /*Configure GPIO pin Output Level */
  HAL_GPIO_WritePin(GPIOD, USB_OTG_FS_PWR_EN_Pin|MUX_2_A_Pin, GPIO_PIN_RESET);

  /*Configure GPIO pin Output Level */
  HAL_GPIO_WritePin(GPIOG, MUX_2_C_Pin|MUX_2_B_Pin, GPIO_PIN_RESET);

  /*Configure GPIO pin Output Level */
  HAL_GPIO_WritePin(GPIOC, MUX_1_A_Pin|MUX_1_B_Pin|MUX_1_C_Pin, GPIO_PIN_RESET);

  /*Configure GPIO pin Output Level */
  HAL_GPIO_WritePin(LD2_GPIO_Port, LD2_Pin, GPIO_PIN_RESET);

  /*Configure GPIO pin : B1_Pin */
  GPIO_InitStruct.Pin = B1_Pin;
  GPIO_InitStruct.Mode = GPIO_MODE_INPUT;
  GPIO_InitStruct.Pull = GPIO_NOPULL;
  HAL_GPIO_Init(B1_GPIO_Port, &GPIO_InitStruct);

  /*Configure GPIO pins : LD1_Pin TIM16_OUT_Pin LD3_Pin */
  GPIO_InitStruct.Pin = LD1_Pin|TIM16_OUT_Pin|LD3_Pin;
  GPIO_InitStruct.Mode = GPIO_MODE_OUTPUT_PP;
  GPIO_InitStruct.Pull = GPIO_NOPULL;
  GPIO_InitStruct.Speed = GPIO_SPEED_FREQ_LOW;
  HAL_GPIO_Init(GPIOB, &GPIO_InitStruct);

  /*Configure GPIO pins : USB_OTG_FS_PWR_EN_Pin MUX_2_A_Pin */
  GPIO_InitStruct.Pin = USB_OTG_FS_PWR_EN_Pin|MUX_2_A_Pin;
  GPIO_InitStruct.Mode = GPIO_MODE_OUTPUT_PP;
  GPIO_InitStruct.Pull = GPIO_NOPULL;
  GPIO_InitStruct.Speed = GPIO_SPEED_FREQ_LOW;
  HAL_GPIO_Init(GPIOD, &GPIO_InitStruct);

  /*Configure GPIO pin : USB_OTG_FS_OVCR_Pin */
  GPIO_InitStruct.Pin = USB_OTG_FS_OVCR_Pin;
  GPIO_InitStruct.Mode = GPIO_MODE_IT_RISING;
  GPIO_InitStruct.Pull = GPIO_NOPULL;
  HAL_GPIO_Init(USB_OTG_FS_OVCR_GPIO_Port, &GPIO_InitStruct);

  /*Configure GPIO pins : MUX_2_C_Pin MUX_2_B_Pin */
  GPIO_InitStruct.Pin = MUX_2_C_Pin|MUX_2_B_Pin;
  GPIO_InitStruct.Mode = GPIO_MODE_OUTPUT_PP;
  GPIO_InitStruct.Pull = GPIO_NOPULL;
  GPIO_InitStruct.Speed = GPIO_SPEED_FREQ_LOW;
  HAL_GPIO_Init(GPIOG, &GPIO_InitStruct);

  /*Configure GPIO pin : PC9 */
  GPIO_InitStruct.Pin = GPIO_PIN_9;
  GPIO_InitStruct.Mode = GPIO_MODE_AF_PP;
  GPIO_InitStruct.Pull = GPIO_NOPULL;
  GPIO_InitStruct.Speed = GPIO_SPEED_FREQ_LOW;
  GPIO_InitStruct.Alternate = GPIO_AF0_MCO;
  HAL_GPIO_Init(GPIOC, &GPIO_InitStruct);

  /*Configure GPIO pins : MUX_1_A_Pin MUX_1_B_Pin MUX_1_C_Pin */
  GPIO_InitStruct.Pin = MUX_1_A_Pin|MUX_1_B_Pin|MUX_1_C_Pin;
  GPIO_InitStruct.Mode = GPIO_MODE_OUTPUT_PP;
  GPIO_InitStruct.Pull = GPIO_NOPULL;
  GPIO_InitStruct.Speed = GPIO_SPEED_FREQ_LOW;
  HAL_GPIO_Init(GPIOC, &GPIO_InitStruct);

  /*Configure GPIO pin : LD2_Pin */
  GPIO_InitStruct.Pin = LD2_Pin;
  GPIO_InitStruct.Mode = GPIO_MODE_OUTPUT_PP;
  GPIO_InitStruct.Pull = GPIO_NOPULL;
  GPIO_InitStruct.Speed = GPIO_SPEED_FREQ_LOW;
  HAL_GPIO_Init(LD2_GPIO_Port, &GPIO_InitStruct);

}

/* USER CODE BEGIN 4 */
// Callback: timer has rolled over (60Hz)
void HAL_TIM_PeriodElapsedCallback(TIM_HandleTypeDef *htim)
{
	// Check which version of the timer triggered this callback and toggle LED
	if (htim == &htim16)
	{
		HAL_GPIO_TogglePin(TIM16_OUT_GPIO_Port, TIM16_OUT_Pin);

		if (ready_to_send_flag)
		{
			//CDC_Transmit_FS((uint8_t*) dummy_data_to_send, DATA_TO_SEND_LEN * 3);
			trigger_flag = 0;
			CDC_Transmit_FS((uint8_t*) data_to_send, DATA_TO_SEND_LEN * 3);
			ready_to_send_flag = 0;
			HAL_COMP_Start(&hcomp1);
			HAL_COMP_Start(&hcomp2);

		}
		//trigger_flag = RESET;

	}
}

void HAL_ADC_ConvHalfCpltCallback(ADC_HandleTypeDef *hadc)
{

	if (hadc == &hadc1)
	{
		buf_A_quadrant = (buf_A_quadrant + 1) & 3;
	}
	if (hadc == &hadc2)
	{
		buf_B_quadrant = (buf_B_quadrant + 1) & 3;
	}
	if (hadc == &hadc3)
	{
		buf_C_quadrant = (buf_C_quadrant + 1) & 3;
	}
}

void HAL_ADC_ConvCpltCallback(ADC_HandleTypeDef *hadc)
{

	if (hadc == &hadc1)
	{
		buf_A_quadrant++;
		if (buf_A_quadrant >= 4)
		{
			//HAL_ADC_Stop_DMA(&hadc1);
			HAL_ADC_Start_DMA(&hadc1, (uint32_t*) ADC_Buf_A_1, ADC_HALF_BUF_LEN * 2);
			buf_A_quadrant = 0;
		}
		if (buf_A_quadrant == 2)
		{
			//HAL_ADC_Stop_DMA(&hadc1);
			HAL_ADC_Start_DMA(&hadc1, (uint32_t*) ADC_Buf_A_2, ADC_HALF_BUF_LEN * 2);
		}
	}
	if (hadc == &hadc2)
	{
		buf_B_quadrant++;
		if (buf_B_quadrant >= 4)
		{
			//HAL_ADC_Stop_DMA(&hadc2);
			HAL_ADC_Start_DMA(&hadc2, (uint32_t*) ADC_Buf_B_1, ADC_HALF_BUF_LEN * 2);
			buf_B_quadrant = 0;
		}
		if (buf_B_quadrant == 2)
		{
			//HAL_ADC_Stop_DMA(&hadc2);
			HAL_ADC_Start_DMA(&hadc2, (uint32_t*) ADC_Buf_B_2, ADC_HALF_BUF_LEN * 2);
		}
	}
	if (hadc == &hadc3)
	{
		buf_C_quadrant++;
		if (buf_C_quadrant >= 4)
		{
			//HAL_ADC_Stop_DMA(&hadc3);
			HAL_ADC_Start_DMA(&hadc3, (uint32_t*) ADC_Buf_C_1, ADC_HALF_BUF_LEN * 2);
			buf_C_quadrant = 0;
		}
		if (buf_C_quadrant == 2)
		{
			//HAL_ADC_Stop_DMA(&hadc3);
			HAL_ADC_Start_DMA(&hadc3, (uint32_t*) ADC_Buf_C_2, ADC_HALF_BUF_LEN * 2);
		}
	}

}

void HAL_COMP_TriggerCallback(COMP_HandleTypeDef *hcomp)
{
	if (!first_triggering)
	{
		first_triggering = 1;
		return;
	}
	uint8_t output_level = 0;

	//TODO(Attila): event handling
	if (hcomp == &hcomp1 && trigger_flag == 0)
	{
		output_level = HAL_COMP_GetOutputLevel( &hcomp1);
		trigger_A_pos = __HAL_DMA_GET_COUNTER(&hdma_adc1);
		if (options->trigger_channel == 1)
		{
			if(output_level != expected_comp_output){
				return;
			}
			trigger_flag = 1;
			trigger_quadrant = buf_A_quadrant;
			HAL_COMP_Stop(&hcomp1);
		}

	}
	if (hcomp == &hcomp2 && trigger_flag == 0)
	{
		output_level = HAL_COMP_GetOutputLevel( &hcomp2);
		trigger_B_pos = __HAL_DMA_GET_COUNTER(&hdma_adc2);
		if (options->trigger_channel == 2)
		{
			if(output_level != expected_comp_output){
				return;
			}
			trigger_flag = 1;
			trigger_quadrant = buf_B_quadrant;
			HAL_COMP_Stop(&hcomp2);
		}

	}

}

void copy_to_tmp_array()
{
//	uint32_t k = 0;
//	uint32_t adc_buf_len = 2 * ADC_HALF_BUF_LEN;
//	for(k = 0; k < 2 * ADC_HALF_BUF_LEN; k++){
//		ADC_Buf_A_1[k] = k;
//		ADC_Buf_A_2[k] = k + adc_buf_len;
//
//		ADC_Buf_B_1[k] = k;
//		ADC_Buf_B_2[k] = k + adc_buf_len;
//
//		ADC_Buf_C_1[k] = k;
//		ADC_Buf_C_2[k] = k + adc_buf_len;
//	}
	if (trigger_quadrant == 0)
	{
		memcpy(ADC_Tmp_Buf_A, ADC_Buf_A_2 + ADC_HALF_BUF_LEN, ADC_HALF_BUF_LEN);
		memcpy(ADC_Tmp_Buf_A + ADC_HALF_BUF_LEN, ADC_Buf_A_1, ADC_HALF_BUF_LEN);
		memcpy(ADC_Tmp_Buf_A + 2 * ADC_HALF_BUF_LEN, ADC_Buf_A_1 + ADC_HALF_BUF_LEN, ADC_HALF_BUF_LEN);

		memcpy(ADC_Tmp_Buf_B, ADC_Buf_B_2 + ADC_HALF_BUF_LEN, ADC_HALF_BUF_LEN);
		memcpy(ADC_Tmp_Buf_B + ADC_HALF_BUF_LEN, ADC_Buf_B_1, ADC_HALF_BUF_LEN);
		memcpy(ADC_Tmp_Buf_B + 2 * ADC_HALF_BUF_LEN, ADC_Buf_B_1 + ADC_HALF_BUF_LEN, ADC_HALF_BUF_LEN);

		memcpy(ADC_Tmp_Buf_C, ADC_Buf_C_2 + ADC_HALF_BUF_LEN, ADC_HALF_BUF_LEN);
		memcpy(ADC_Tmp_Buf_C + ADC_HALF_BUF_LEN, ADC_Buf_C_1, ADC_HALF_BUF_LEN);
		memcpy(ADC_Tmp_Buf_C + 2 * ADC_HALF_BUF_LEN, ADC_Buf_C_1 + ADC_HALF_BUF_LEN, ADC_HALF_BUF_LEN);

	}

	if (trigger_quadrant == 1)
	{
		memcpy(ADC_Tmp_Buf_A, ADC_Buf_A_1, ADC_HALF_BUF_LEN);
		memcpy(ADC_Tmp_Buf_A + ADC_HALF_BUF_LEN, ADC_Buf_A_1 + ADC_HALF_BUF_LEN, ADC_HALF_BUF_LEN);
		memcpy(ADC_Tmp_Buf_A + 2 * ADC_HALF_BUF_LEN, ADC_Buf_A_2, ADC_HALF_BUF_LEN);

		memcpy(ADC_Tmp_Buf_B, ADC_Buf_B_1, ADC_HALF_BUF_LEN);
		memcpy(ADC_Tmp_Buf_B + ADC_HALF_BUF_LEN, ADC_Buf_B_1 + ADC_HALF_BUF_LEN, ADC_HALF_BUF_LEN);
		memcpy(ADC_Tmp_Buf_B + 2 * ADC_HALF_BUF_LEN, ADC_Buf_B_2, ADC_HALF_BUF_LEN);

		memcpy(ADC_Tmp_Buf_C, ADC_Buf_C_1, ADC_HALF_BUF_LEN);
		memcpy(ADC_Tmp_Buf_C + ADC_HALF_BUF_LEN, ADC_Buf_C_1 + ADC_HALF_BUF_LEN, ADC_HALF_BUF_LEN);
		memcpy(ADC_Tmp_Buf_C + 2 * ADC_HALF_BUF_LEN, ADC_Buf_C_2, ADC_HALF_BUF_LEN);

	}

	if (trigger_quadrant == 2)
	{
		memcpy(ADC_Tmp_Buf_A, ADC_Buf_A_1 + ADC_HALF_BUF_LEN, ADC_HALF_BUF_LEN);
		memcpy(ADC_Tmp_Buf_A + ADC_HALF_BUF_LEN, ADC_Buf_A_2, ADC_HALF_BUF_LEN);
		memcpy(ADC_Tmp_Buf_A + 2 * ADC_HALF_BUF_LEN, ADC_Buf_A_2 + ADC_HALF_BUF_LEN, ADC_HALF_BUF_LEN);

		memcpy(ADC_Tmp_Buf_B, ADC_Buf_B_1 + ADC_HALF_BUF_LEN, ADC_HALF_BUF_LEN);
		memcpy(ADC_Tmp_Buf_B + ADC_HALF_BUF_LEN, ADC_Buf_B_2, ADC_HALF_BUF_LEN);
		memcpy(ADC_Tmp_Buf_B + 2 * ADC_HALF_BUF_LEN, ADC_Buf_B_2 + ADC_HALF_BUF_LEN, ADC_HALF_BUF_LEN);

		memcpy(ADC_Tmp_Buf_C, ADC_Buf_C_1 + ADC_HALF_BUF_LEN, ADC_HALF_BUF_LEN);
		memcpy(ADC_Tmp_Buf_C + ADC_HALF_BUF_LEN, ADC_Buf_C_2, ADC_HALF_BUF_LEN);
		memcpy(ADC_Tmp_Buf_C + 2 * ADC_HALF_BUF_LEN, ADC_Buf_C_2 + ADC_HALF_BUF_LEN, ADC_HALF_BUF_LEN);

	}

	if (trigger_quadrant == 3)
	{
		memcpy(ADC_Tmp_Buf_A, ADC_Buf_A_2, ADC_HALF_BUF_LEN);
		memcpy(ADC_Tmp_Buf_A + ADC_HALF_BUF_LEN, ADC_Buf_A_2 + ADC_HALF_BUF_LEN, ADC_HALF_BUF_LEN);
		memcpy(ADC_Tmp_Buf_A + 2 * ADC_HALF_BUF_LEN, ADC_Buf_A_1, ADC_HALF_BUF_LEN);

		memcpy(ADC_Tmp_Buf_B, ADC_Buf_B_2, ADC_HALF_BUF_LEN);
		memcpy(ADC_Tmp_Buf_B + ADC_HALF_BUF_LEN, ADC_Buf_B_2 + ADC_HALF_BUF_LEN, ADC_HALF_BUF_LEN);
		memcpy(ADC_Tmp_Buf_B + 2 * ADC_HALF_BUF_LEN, ADC_Buf_B_1, ADC_HALF_BUF_LEN);

		memcpy(ADC_Tmp_Buf_C, ADC_Buf_C_2, ADC_HALF_BUF_LEN);
		memcpy(ADC_Tmp_Buf_C + ADC_HALF_BUF_LEN, ADC_Buf_C_2 + ADC_HALF_BUF_LEN, ADC_HALF_BUF_LEN);
		memcpy(ADC_Tmp_Buf_C + 2 * ADC_HALF_BUF_LEN, ADC_Buf_C_1, ADC_HALF_BUF_LEN);
	}
}

void prepare_data_to_send(uint16_t trigger_pos)
{
	if (trigger_quadrant == 1 || trigger_quadrant == 3)
	{
		trigger_pos += ADC_HALF_BUF_LEN;
	}
	uint32_t i = trigger_pos;
	uint8_t step = options->time_scale + 1;
	uint16_t interval = DATA_TO_SEND_LEN * step - 1;
	uint16_t half_interval = interval / 2;
	uint16_t half_data_to_send_len = DATA_TO_SEND_LEN / 2;
	data_to_send[0] = 0;
	data_to_send[DATA_TO_SEND_LEN] = 1;
	data_to_send[DATA_TO_SEND_LEN * 2] = 2;
	data_to_send[250] = ADC_Tmp_Buf_A[trigger_pos];
	data_to_send[DATA_TO_SEND_LEN + 250] = ADC_Tmp_Buf_B[trigger_pos];
	data_to_send[DATA_TO_SEND_LEN * 2 + 250] = ADC_Tmp_Buf_C[trigger_pos];

//	uint32_t k = 0; //TODO fill with dummy data
//	for(k = 0; k < ADC_HALF_BUF_LEN * 3 ; k++){
//		ADC_Tmp_Buf_A[k] = k;
//		ADC_Tmp_Buf_B[k] = k;
//		ADC_Tmp_Buf_C[k] = k;
//	}

	for (i = 1; i < half_data_to_send_len; i++ )
	{
		data_to_send[i] = ADC_Tmp_Buf_A[trigger_pos + i * step];
		data_to_send[DATA_TO_SEND_LEN + i] = ADC_Tmp_Buf_B[trigger_pos + i * step];
		data_to_send[DATA_TO_SEND_LEN + DATA_TO_SEND_LEN + i] = ADC_Tmp_Buf_C[trigger_pos + i * step];

	}

	for (i = half_data_to_send_len; i < DATA_TO_SEND_LEN; i++)
	{
		data_to_send[i] = ADC_Tmp_Buf_A[trigger_pos + i * step];
		data_to_send[i + DATA_TO_SEND_LEN] = ADC_Tmp_Buf_B[trigger_pos + i * step];
		data_to_send[i + DATA_TO_SEND_LEN + DATA_TO_SEND_LEN] = ADC_Tmp_Buf_C[trigger_pos + i * step];

	}

	trigger_flag = 0;
	ready_to_send_flag = 1;
}

/* USER CODE END 4 */

void Error_Handler(void)
{
  /* USER CODE BEGIN Error_Handler_Debug */
	HAL_GPIO_TogglePin(LD1_GPIO_Port, LD1_Pin);
	HAL_GPIO_WritePin(LD3_GPIO_Port, LD3_Pin, GPIO_PIN_SET);
	/* User can add his own implementation to report the HAL error return state */
	__disable_irq();
	while (1)
	{
	}
  /* USER CODE END Error_Handler_Debug */
}
